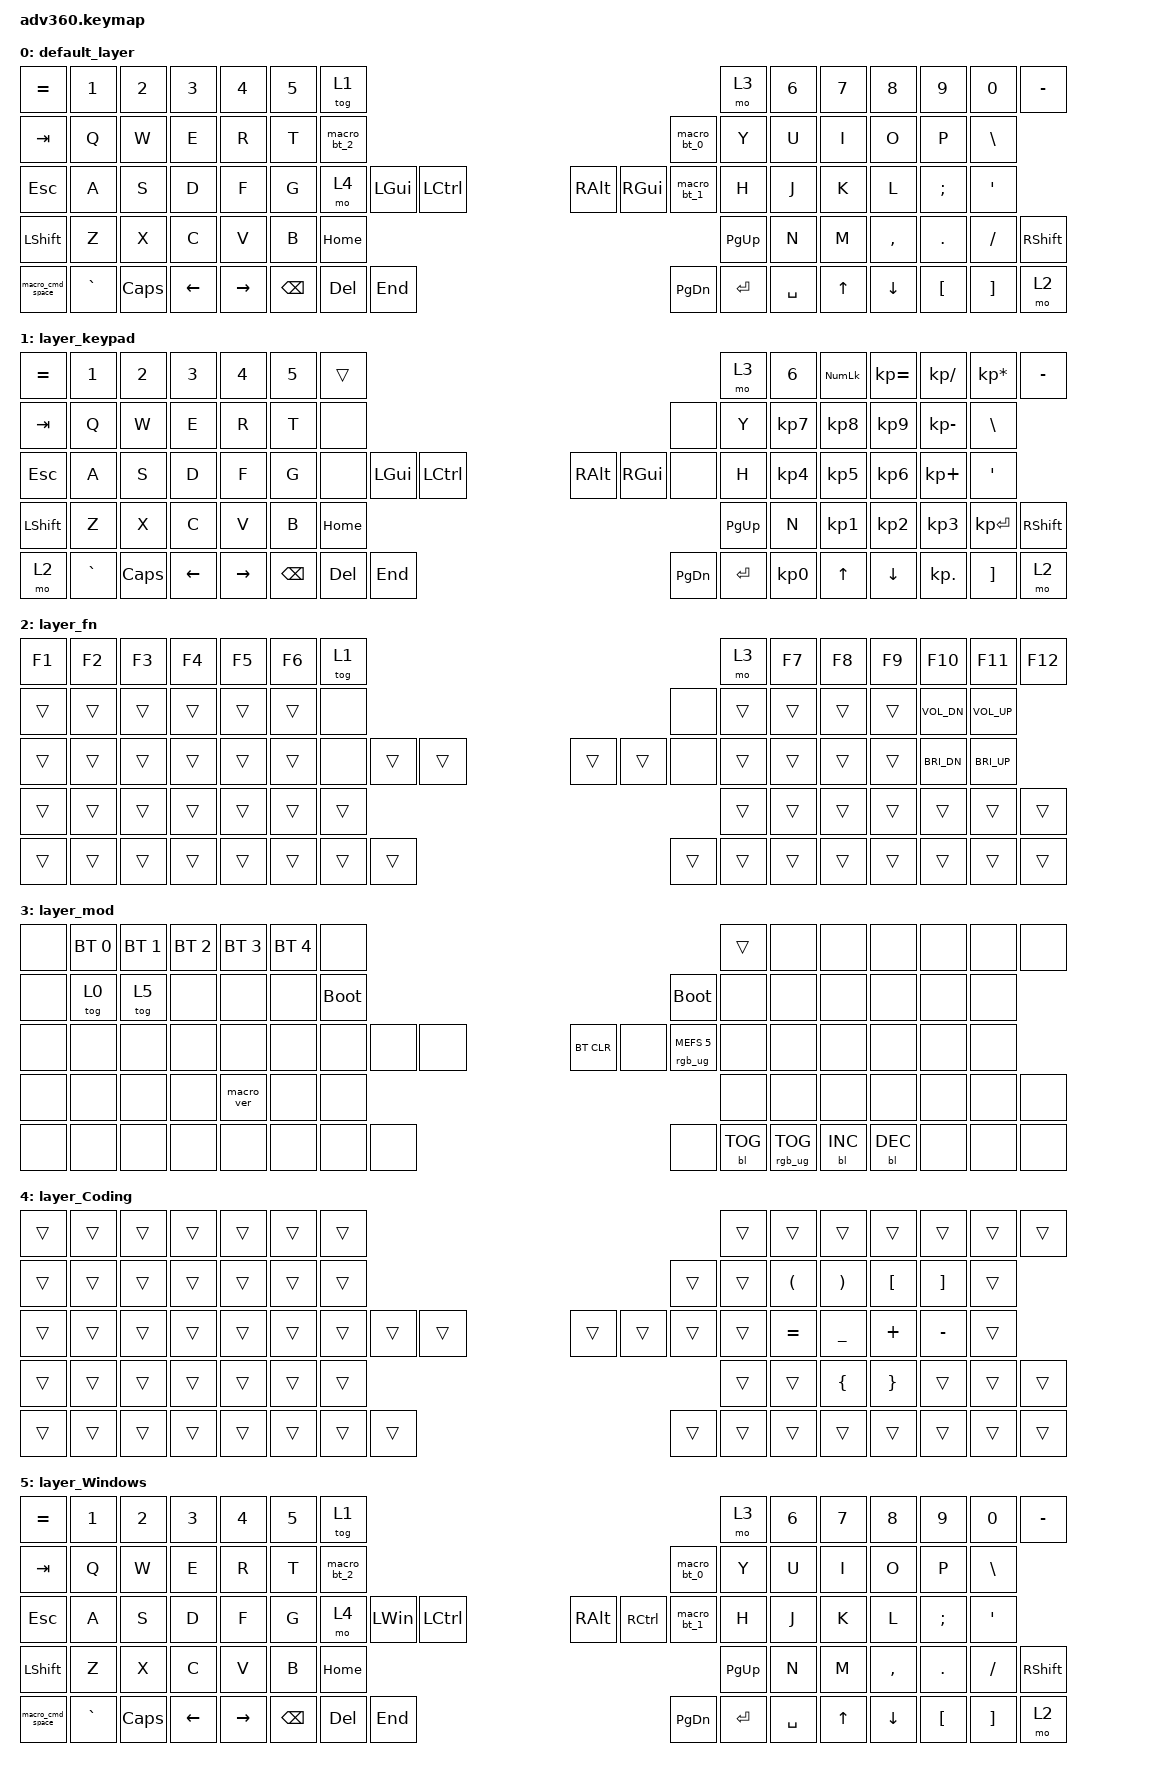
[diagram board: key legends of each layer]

/*
 * Copyright (c) 2020 The ZMK Contributors
 *
 * SPDX-License-Identifier: MIT
 */


/* THIS FILE WAS GENERATED!
 *
 * This file was generated automatically. You may or may not want to
 * edit it directly.
 */

#include <behaviors.dtsi>
#include <dt-bindings/zmk/keys.h>
#include <dt-bindings/zmk/bt.h>
#include <dt-bindings/zmk/rgb.h>
#include <dt-bindings/zmk/backlight.h>

/ {
  behaviors {
    #include "macros.dtsi"
    #include "version.dtsi"

    hm: homerow_mods {
        compatible = "zmk,behavior-hold-tap";
        label = "HOMEROW_MODS";
        #binding-cells = <2>;
        tapping-term-ms = <200>;
        quick_tap_ms = <175>;
        flavor = "tap-preferred";
        bindings = <&kp>, <&kp>;
    };
  };

    keymap {
        compatible = "zmk,keymap";


        default_layer {
            bindings = <
        &kp EQUAL     &kp N1    &kp N2    &kp N3     &kp N4  &kp N5                 &tog 1                                                                   &mo 3  &kp N6  &kp N7     &kp N8    &kp N9    &kp N0  &kp MINUS
          &kp TAB      &kp Q     &kp W     &kp E      &kp R   &kp T            &macro_bt_2                                                             &macro_bt_0   &kp Y   &kp U      &kp I     &kp O     &kp P   &kp BSLH
          &kp ESC      &kp A     &kp S     &kp D      &kp F   &kp G                  &mo 4  &kp LGUI  &kp LCTRL                   &kp RALT   &kp RGUI  &macro_bt_1   &kp H   &kp J      &kp K     &kp L  &kp SEMI    &kp SQT
        &kp LSHFT      &kp Z     &kp X     &kp C      &kp V   &kp B                                    &kp HOME                  &kp PG_UP                           &kp N   &kp M  &kp COMMA   &kp DOT  &kp FSLH  &kp RSHFT
 &macro_cmd_space  &kp GRAVE  &kp CAPS  &kp LEFT  &kp RIGHT                       &kp BSPC   &kp DEL    &kp END                  &kp PG_DN  &kp ENTER    &kp SPACE          &kp UP   &kp DOWN  &kp LBKT  &kp RBKT      &mo 2
            >;
        };

        layer_keypad {
            bindings = <
 &kp EQUAL     &kp N1    &kp N2    &kp N3     &kp N4  &kp N5              &trans                                                                 &mo 3  &kp N6  &kp KP_NUM  &kp KP_EQUAL  &kp KP_DIVIDE  &kp KP_MULTIPLY  &kp MINUS
   &kp TAB      &kp Q     &kp W     &kp E      &kp R   &kp T               &none                                                                 &none   &kp Y   &kp KP_N7     &kp KP_N8      &kp KP_N9     &kp KP_MINUS   &kp BSLH
   &kp ESC      &kp A     &kp S     &kp D      &kp F   &kp G               &none  &kp LGUI  &kp LCTRL                   &kp RALT   &kp RGUI      &none   &kp H   &kp KP_N4     &kp KP_N5      &kp KP_N6      &kp KP_PLUS    &kp SQT
 &kp LSHFT      &kp Z     &kp X     &kp C      &kp V   &kp B                                 &kp HOME                  &kp PG_UP                         &kp N   &kp KP_N1     &kp KP_N2      &kp KP_N3     &kp KP_ENTER  &kp RSHFT
     &mo 2  &kp GRAVE  &kp CAPS  &kp LEFT  &kp RIGHT                    &kp BSPC   &kp DEL    &kp END                  &kp PG_DN  &kp ENTER  &kp KP_N0              &kp UP      &kp DOWN     &kp KP_DOT         &kp RBKT      &mo 2
            >;
        };

        layer_fn {
            bindings = <
 &kp F1  &kp F2  &kp F3  &kp F4  &kp F5  &kp F6            &tog 1                                                   &mo 3  &kp F7  &kp F8  &kp F9  &kp F10       &kp F11       &kp F12
 &trans  &trans  &trans  &trans  &trans  &trans             &none                                                   &none  &trans  &trans  &trans   &trans  &kp C_VOL_DN  &kp C_VOL_UP
 &trans  &trans  &trans  &trans  &trans  &trans             &none  &trans  &trans                  &trans  &trans   &none  &trans  &trans  &trans   &trans  &kp C_BRI_DN  &kp C_BRI_UP
 &trans  &trans  &trans  &trans  &trans  &trans                            &trans                  &trans                  &trans  &trans  &trans   &trans        &trans        &trans
 &trans  &trans  &trans  &trans  &trans                    &trans  &trans  &trans                  &trans  &trans  &trans          &trans  &trans   &trans        &trans        &trans
            >;
        };

        layer_mod {
            bindings = <
  &none  &bt BT_SEL 0  &bt BT_SEL 1  &bt BT_SEL 2  &bt BT_SEL 3  &bt BT_SEL 4                  &none                                                                          &trans   &none       &none       &none   &none   &none   &none
  &none        &tog 0        &tog 5         &none         &none         &none            &bootloader                                                                     &bootloader   &none       &none       &none   &none   &none   &none
  &none         &none         &none         &none         &none         &none                  &none   &none   &none                  &bt BT_CLR       &none  &rgb_ug RGB_MEFS_CMD 5   &none       &none       &none   &none   &none   &none
  &none         &none         &none         &none    &macro_ver         &none                                  &none                       &none                                       &none       &none       &none   &none   &none   &none
  &none         &none         &none         &none         &none                                &none   &none   &none                       &none  &bl BL_TOG         &rgb_ug RGB_TOG          &bl BL_INC  &bl BL_DEC   &none   &none   &none
            >;
        };

        layer_Coding {
            bindings = <
 &trans  &trans  &trans  &trans  &trans  &trans            &trans                                                  &trans  &trans     &trans     &trans            &trans     &trans  &trans
 &trans  &trans  &trans  &trans  &trans  &trans            &trans                                                  &trans  &trans   &kp LPAR   &kp RPAR  &kp LEFT_BRACKET   &kp RBKT  &trans
 &trans  &trans  &trans  &trans  &trans  &trans            &trans  &trans  &trans                  &trans  &trans  &trans  &trans  &kp EQUAL  &kp UNDER          &kp PLUS  &kp MINUS  &trans
 &trans  &trans  &trans  &trans  &trans  &trans                            &trans                  &trans                  &trans   &kp LBRC   &kp RBRC            &trans     &trans  &trans
 &trans  &trans  &trans  &trans  &trans                    &trans  &trans  &trans                  &trans  &trans  &trans             &trans     &trans            &trans     &trans  &trans
            >;
        };

        layer_Windows {
            bindings = <
        &kp EQUAL     &kp N1    &kp N2    &kp N3     &kp N4  &kp N5                 &tog 1                                                                   &mo 3  &kp N6  &kp N7     &kp N8    &kp N9    &kp N0  &kp MINUS
          &kp TAB      &kp Q     &kp W     &kp E      &kp R   &kp T            &macro_bt_2                                                             &macro_bt_0   &kp Y   &kp U      &kp I     &kp O     &kp P   &kp BSLH
          &kp ESC      &kp A     &kp S     &kp D      &kp F   &kp G                  &mo 4  &kp LWIN  &kp LCTRL                   &kp RALT  &kp RCTRL  &macro_bt_1   &kp H   &kp J      &kp K     &kp L  &kp SEMI    &kp SQT
        &kp LSHFT      &kp Z     &kp X     &kp C      &kp V   &kp B                                    &kp HOME                  &kp PG_UP                           &kp N   &kp M  &kp COMMA   &kp DOT  &kp FSLH  &kp RSHFT
 &macro_cmd_space  &kp GRAVE  &kp CAPS  &kp LEFT  &kp RIGHT                       &kp BSPC   &kp DEL    &kp END                  &kp PG_DN  &kp ENTER    &kp SPACE          &kp UP   &kp DOWN  &kp LBKT  &kp RBKT      &mo 2
            >;
        };

    };
};
